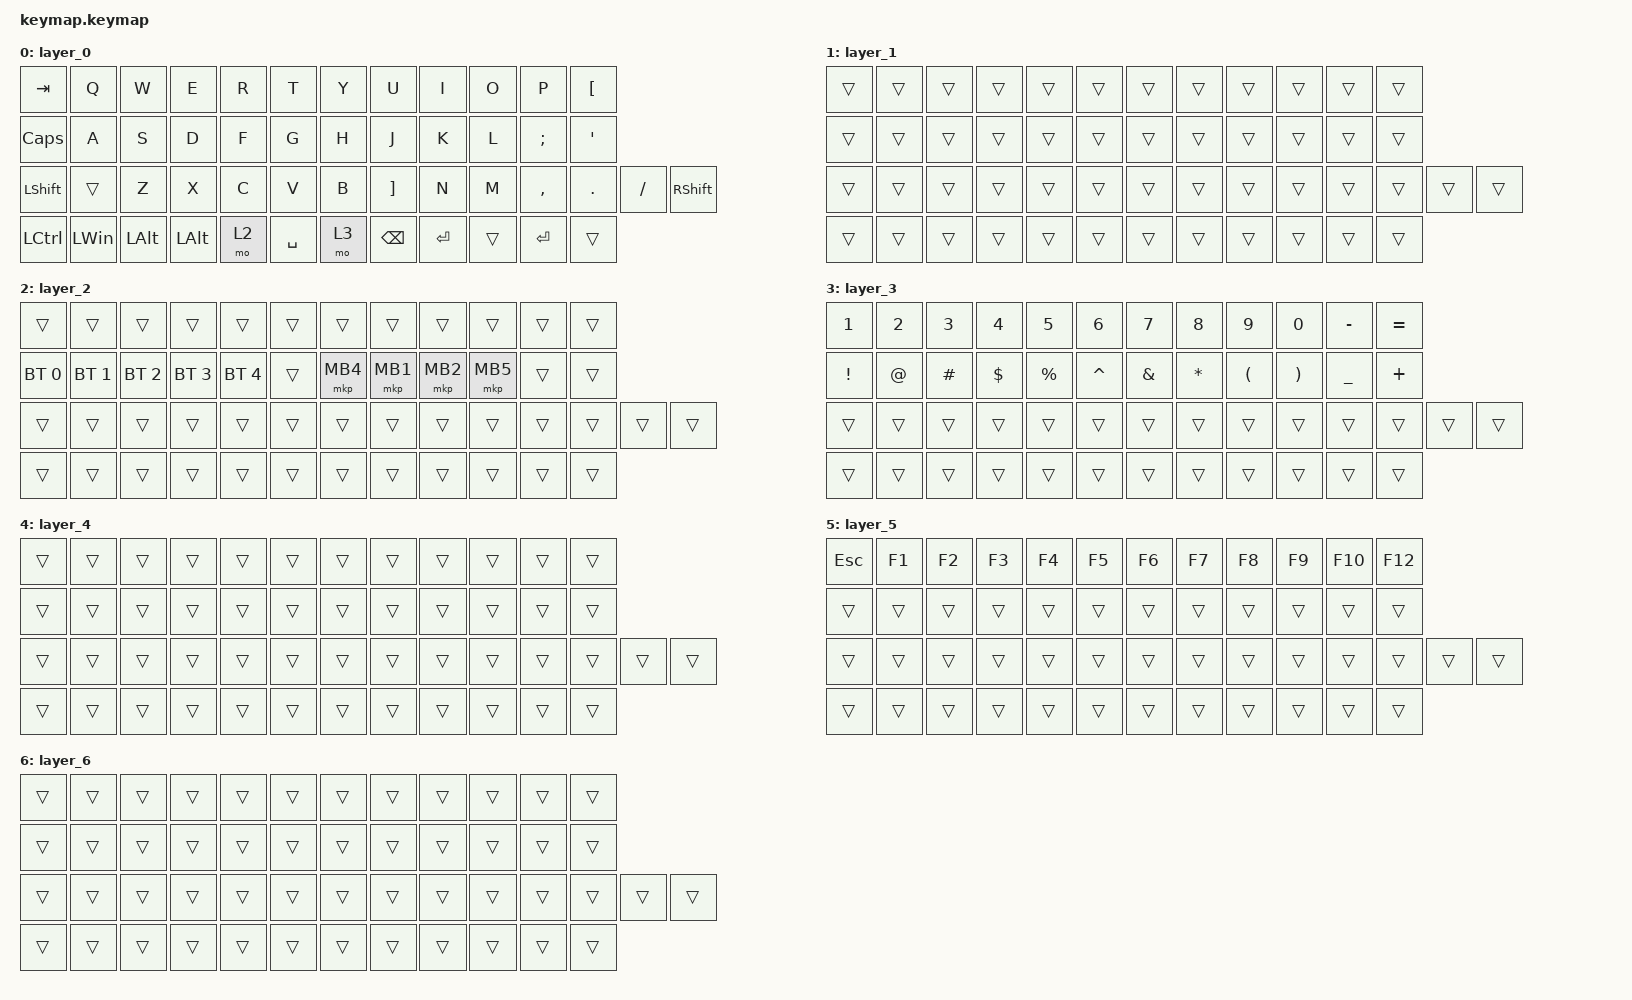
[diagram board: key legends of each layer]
#include <behaviors.dtsi>
#include <dt-bindings/zmk/bt.h>
#include <dt-bindings/zmk/keys.h>
#include <dt-bindings/zmk/pointing.h>

/ {
    combos { compatible = "zmk,combos"; };

    keymap {
        compatible = "zmk,keymap";

        layer_0 {
            bindings = <
&kp TAB    &kp Q         &kp W         &kp E     &kp R  &kp T      &kp Y  &kp U              &kp I      &kp O   &kp P          &kp LEFT_BRACKET
&kp CAPS   &kp A         &kp S         &kp D     &kp F  &kp G      &kp H  &kp J              &kp K      &kp L   &kp SEMICOLON  &kp SQT
&kp LSHFT  &trans        &kp Z         &kp X     &kp C  &kp V      &kp B  &kp RIGHT_BRACKET  &kp N      &kp M   &kp COMMA      &kp DOT           &kp SLASH  &kp RSHFT
&kp LCTRL  &kp LEFT_WIN  &kp LEFT_ALT  &kp LALT  &mo 2  &kp SPACE  &mo 3  &kp BACKSPACE      &kp ENTER  &trans  &kp ENTER      &trans
            >;
        };

        layer_1 {
            bindings = <
&trans  &trans  &trans  &trans  &trans  &trans  &trans  &trans  &trans  &trans  &trans  &trans
&trans  &trans  &trans  &trans  &trans  &trans  &trans  &trans  &trans  &trans  &trans  &trans
&trans  &trans  &trans  &trans  &trans  &trans  &trans  &trans  &trans  &trans  &trans  &trans  &trans  &trans
&trans  &trans  &trans  &trans  &trans  &trans  &trans  &trans  &trans  &trans  &trans  &trans
            >;
        };

        layer_2 {
            bindings = <
&trans        &trans        &trans        &trans        &trans        &trans  &trans    &trans    &trans    &trans    &trans  &trans
&bt BT_SEL 0  &bt BT_SEL 1  &bt BT_SEL 2  &bt BT_SEL 3  &bt BT_SEL 4  &trans  &mkp MB4  &mkp MB1  &mkp MB2  &mkp MB5  &trans  &trans
&trans        &trans        &trans        &trans        &trans        &trans  &trans    &trans    &trans    &trans    &trans  &trans  &trans  &trans
&trans        &trans        &trans        &trans        &trans        &trans  &trans    &trans    &trans    &trans    &trans  &trans
            >;
        };

        layer_3 {
            bindings = <
&kp NUMBER_1     &kp NUMBER_2  &kp NUMBER_3  &kp NUMBER_4  &kp NUMBER_5  &kp NUMBER_6  &kp N7         &kp N8        &kp N9                &kp N0                 &kp MINUS       &kp EQUAL
&kp EXCLAMATION  &kp AT_SIGN   &kp HASH      &kp DOLLAR    &kp PERCENT   &kp CARET     &kp AMPERSAND  &kp ASTERISK  &kp LEFT_PARENTHESIS  &kp RIGHT_PARENTHESIS  &kp UNDERSCORE  &kp PLUS
&trans           &trans        &trans        &trans        &trans        &trans        &trans         &trans        &trans                &trans                 &trans          &trans     &trans  &trans
&trans           &trans        &trans        &trans        &trans        &trans        &trans         &trans        &trans                &trans                 &trans          &trans
            >;
        };

        layer_4 {
            bindings = <
&trans  &trans  &trans  &trans  &trans  &trans  &trans  &trans  &trans  &trans  &trans  &trans
&trans  &trans  &trans  &trans  &trans  &trans  &trans  &trans  &trans  &trans  &trans  &trans
&trans  &trans  &trans  &trans  &trans  &trans  &trans  &trans  &trans  &trans  &trans  &trans  &trans  &trans
&trans  &trans  &trans  &trans  &trans  &trans  &trans  &trans  &trans  &trans  &trans  &trans
            >;
        };

        layer_5 {
            bindings = <
&kp ESC  &kp F1  &kp F2  &kp F3  &kp F4  &kp F5  &kp F6  &kp F7  &kp F8  &kp F9  &kp F10  &kp F12
&trans   &trans  &trans  &trans  &trans  &trans  &trans  &trans  &trans  &trans  &trans   &trans
&trans   &trans  &trans  &trans  &trans  &trans  &trans  &trans  &trans  &trans  &trans   &trans   &trans  &trans
&trans   &trans  &trans  &trans  &trans  &trans  &trans  &trans  &trans  &trans  &trans   &trans
            >;
        };

        layer_6 {
            bindings = <
&trans  &trans  &trans  &trans  &trans  &trans  &trans  &trans  &trans  &trans  &trans  &trans
&trans  &trans  &trans  &trans  &trans  &trans  &trans  &trans  &trans  &trans  &trans  &trans
&trans  &trans  &trans  &trans  &trans  &trans  &trans  &trans  &trans  &trans  &trans  &trans  &trans  &trans
&trans  &trans  &trans  &trans  &trans  &trans  &trans  &trans  &trans  &trans  &trans  &trans
            >;
        };
    };
};
